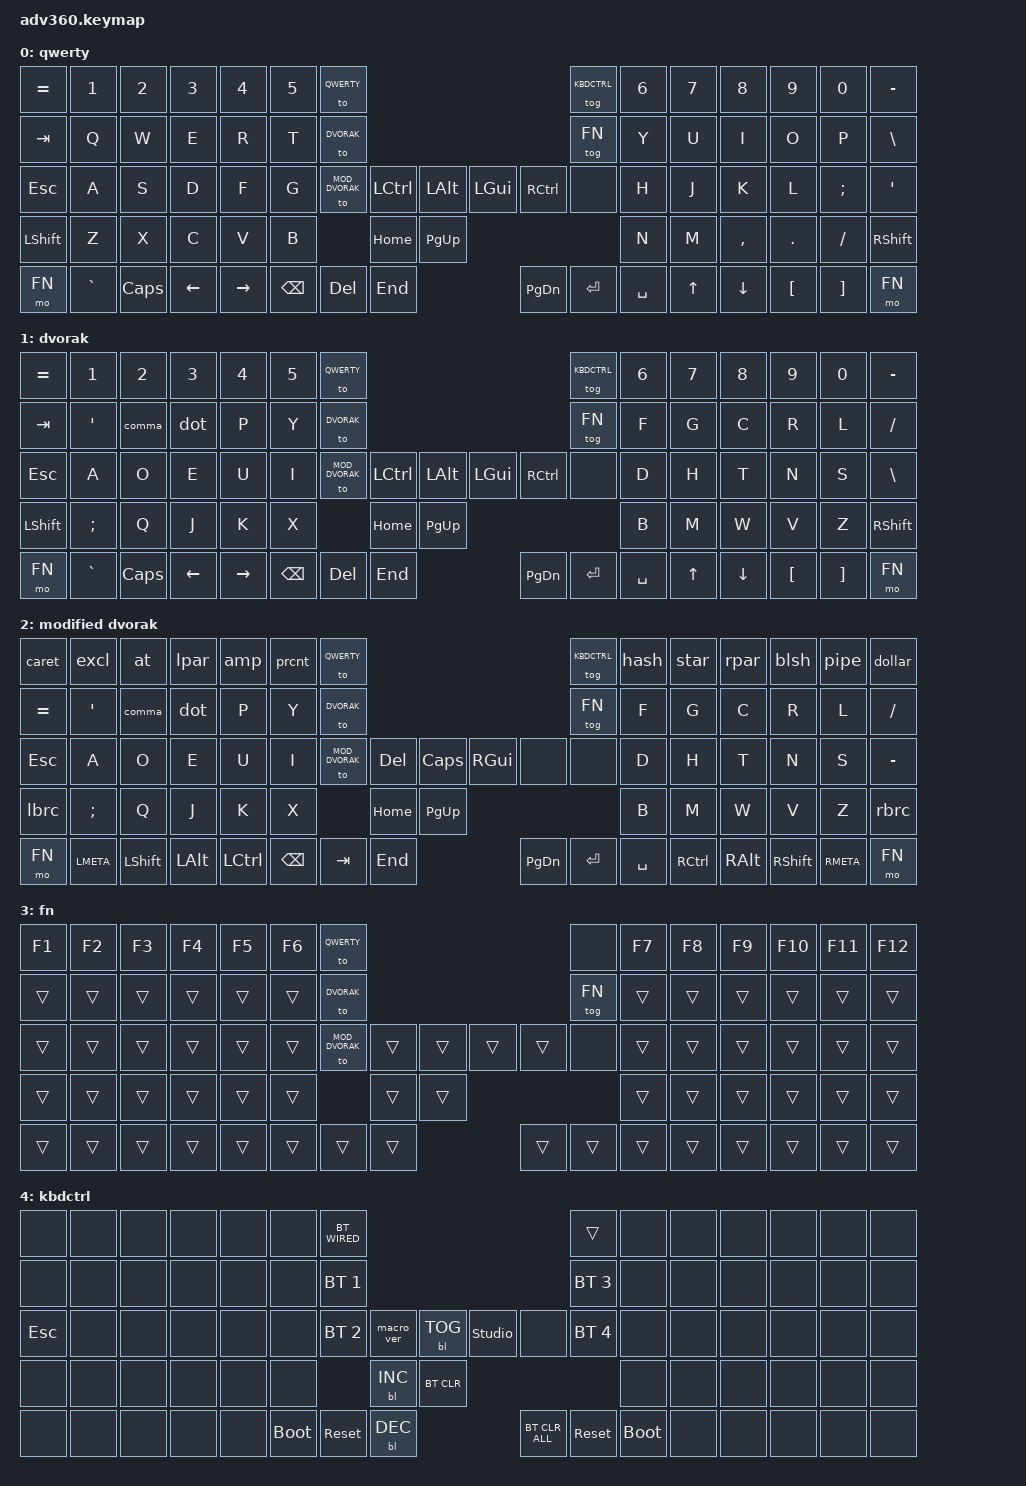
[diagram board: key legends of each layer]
#include <behaviors.dtsi>
#include <dt-bindings/zmk/keys.h>
#include <dt-bindings/zmk/bt.h>
#include <dt-bindings/zmk/rgb.h>
#include <dt-bindings/zmk/stp.h>
#include <dt-bindings/zmk/backlight.h>
#include <dt-bindings/zmk/pointing.h>
#define QWERTY 0
#define DVORAK 1
#define MOD_DVORAK 2
#define FN 3
#define KBDCTRL 4
#define BT_1 0
#define BT_2 1
#define BT_3 2
#define BT_4 3
#define BT_WIRED 4

/ {

    behaviors {
        #include "macros.dtsi"
        #include "version.dtsi"

        caret: caret {
            compatible = "zmk,behavior-mod-morph";
            #binding-cells = <0>;
            bindings = <&kp CARET>, <&kp TILDE>;
            mods = <(MOD_LSFT|MOD_RSFT)>;
        };

        excl: excl {
            compatible = "zmk,behavior-mod-morph";
            #binding-cells = <0>;
            bindings = <&kp EXCL>, <&kp N1>;
            mods = <(MOD_LSFT|MOD_RSFT)>;
        };

        at: at {
            compatible = "zmk,behavior-mod-morph";
            #binding-cells = <0>;
            bindings = <&kp AT>, <&kp N2>;
            mods = <(MOD_LSFT|MOD_RSFT)>;
        };

        lpar: lpar {
            compatible = "zmk,behavior-mod-morph";
            #binding-cells = <0>;
            bindings = <&kp LPAR>, <&kp N3>;
            mods = <(MOD_LSFT|MOD_RSFT)>;
        };

        amp: amp {
            compatible = "zmk,behavior-mod-morph";
            #binding-cells = <0>;
            bindings = <&kp AMPS>, <&kp N4>;
            mods = <(MOD_LSFT|MOD_RSFT)>;
        };

        prcnt: prcnt {
            compatible = "zmk,behavior-mod-morph";
            #binding-cells = <0>;
            bindings = <&kp PRCNT>, <&kp N5>;
            mods = <(MOD_LSFT|MOD_RSFT)>;
        };

        hash: hash {
            compatible = "zmk,behavior-mod-morph";
            #binding-cells = <0>;
            bindings = <&kp HASH>, <&kp N6>;
            mods = <(MOD_LSFT|MOD_RSFT)>;
        };

        star: star {
            compatible = "zmk,behavior-mod-morph";
            #binding-cells = <0>;
            bindings = <&kp STAR>, <&kp N7>;
            mods = <(MOD_LSFT|MOD_RSFT)>;
        };

        rpar: rpar {
            compatible = "zmk,behavior-mod-morph";
            #binding-cells = <0>;
            bindings = <&kp RPAR>, <&kp N8>;
            mods = <(MOD_LSFT|MOD_RSFT)>;
        };

        blsh: blsh {
            compatible = "zmk,behavior-mod-morph";
            #binding-cells = <0>;
            bindings = <&kp BSLH>, <&kp N9>;
            mods = <(MOD_LSFT|MOD_RSFT)>;
        };

        pipe: pipe {
            compatible = "zmk,behavior-mod-morph";
            #binding-cells = <0>;
            bindings = <&kp PIPE>, <&kp N0>;
            mods = <(MOD_LSFT|MOD_RSFT)>;
        };

        dollar: dollar {
            compatible = "zmk,behavior-mod-morph";
            #binding-cells = <0>;
            bindings = <&kp DOLLAR>, <&kp GRAVE>;
            mods = <(MOD_LSFT|MOD_RSFT)>;
        };

        comma: comma {
            compatible = "zmk,behavior-mod-morph";
            #binding-cells = <0>;
            bindings = <&kp COMMA>, <&kp LT>;
            mods = <(MOD_LSFT|MOD_RSFT)>;
        };

        dot: dot {
            compatible = "zmk,behavior-mod-morph";
            #binding-cells = <0>;
            bindings = <&kp PERIOD>, <&kp GT>;
            mods = <(MOD_LSFT|MOD_RSFT)>;
        };

        lbrc: lbrc {
            compatible = "zmk,behavior-mod-morph";
            #binding-cells = <0>;
            bindings = <&kp LBRC>, <&kp LBKT>;
            mods = <(MOD_LSFT|MOD_RSFT)>;
        };

        rbrc: rbrc {
            compatible = "zmk,behavior-mod-morph";
            #binding-cells = <0>;
            bindings = <&kp RBRC>, <&kp RBKT>;
            mods = <(MOD_LSFT|MOD_RSFT)>;
        };
    };


    keymap {
        compatible = "zmk,keymap";

        qwerty {
            display-name = "qwerty";
            bindings = <
                &kp EQUAL &kp N1    &kp N2   &kp N3   &kp N4    &kp N5 &to QWERTY                                                                &tog KBDCTRL &kp N6 &kp N7 &kp N8    &kp N9   &kp N0   &kp MINUS
                &kp TAB   &kp Q     &kp W    &kp E    &kp R     &kp T  &to DVORAK                                                                &tog FN      &kp Y  &kp U  &kp I     &kp O    &kp P    &kp BSLH
                &kp ESC   &kp A     &kp S    &kp D    &kp F     &kp G  &to MOD_DVORAK          &kp LCTRL &kp LALT  &kp LGUI  &kp RCTRL           &none        &kp H  &kp J  &kp K     &kp L    &kp SEMI &kp SQT
                &kp LSHFT &kp Z     &kp X    &kp C    &kp V     &kp B                          &kp HOME  &kp PG_UP                                            &kp N  &kp M  &kp COMMA &kp DOT  &kp FSLH &kp RSHFT
                &mo FN    &kp GRAVE &kp CAPS &kp LEFT &kp RIGHT                       &kp BSPC &kp DEL   &kp END   &kp PG_DN &kp ENTER &kp SPACE                     &kp UP &kp DOWN  &kp LBKT &kp RBKT &mo FN
            >;
        };

        dvorak {
            display-name = "dvorak";
            bindings = <
                &kp EQUAL &kp N1    &kp N2   &kp N3   &kp N4    &kp N5 &to QWERTY                                                                &tog KBDCTRL &kp N6 &kp N7 &kp N8   &kp N9   &kp N0   &kp MINUS
                &kp TAB   &kp SQT   &comma   &dot     &kp P     &kp Y  &to DVORAK                                                                &tog FN      &kp F  &kp G  &kp C    &kp R    &kp L    &kp SLASH
                &kp ESC   &kp A     &kp O    &kp E    &kp U     &kp I  &to MOD_DVORAK          &kp LCTRL &kp LALT  &kp LGUI  &kp RCTRL           &none        &kp D  &kp H  &kp T    &kp N    &kp S    &kp BSLH
                &kp LSHFT &kp SEMI  &kp Q    &kp J    &kp K     &kp X                          &kp HOME  &kp PG_UP                                            &kp B  &kp M  &kp W    &kp V    &kp Z    &kp RSHFT
                &mo FN    &kp GRAVE &kp CAPS &kp LEFT &kp RIGHT                       &kp BSPC &kp DEL   &kp END   &kp PG_DN &kp ENTER &kp SPACE                     &kp UP &kp DOWN &kp LBKT &kp RBKT &mo FN
            >;
        };

        mod_dvorak {
            display-name = "modified dvorak";
            bindings = <
                &caret    &excl     &at        &lpar    &amp      &prcnt &to QWERTY                                                               &tog KBDCTRL &hash     &star     &rpar      &blsh      &pipe     &dollar
                &kp EQUAL &kp SQT   &comma     &dot     &kp P     &kp Y  &to DVORAK                                                               &tog FN      &kp F     &kp G     &kp C      &kp R      &kp L     &kp SLASH
                &kp ESC   &kp A     &kp O      &kp E    &kp U     &kp I  &to MOD_DVORAK          &kp DEL  &kp CAPS  &kp RGUI  &none               &none        &kp D     &kp H     &kp T      &kp N      &kp S     &kp MINUS
                &lbrc     &kp SEMI  &kp Q      &kp J    &kp K     &kp X                          &kp HOME &kp PG_UP                                            &kp B     &kp M     &kp W      &kp V      &kp Z     &rbrc
                &mo FN    &kp LMETA &kp LSHIFT &kp LALT &kp LCTRL                       &kp BSPC &kp TAB  &kp END   &kp PG_DN &kp ENTER &kp SPACE                        &kp RCTRL &kp RALT  &kp RSHIFT &kp RMETA  &mo FN
            >;
        };

        fn {
            display-name = "fn";
            bindings = <
                &kp F1 &kp F2 &kp F3 &kp F4 &kp F5 &kp F6 &to QWERTY                                               &none    &kp F7 &kp F8 &kp F9 &kp F10 &kp F11 &kp F12
                &trans &trans &trans &trans &trans &trans &to DVORAK                                               &tog FN  &trans &trans &trans &trans  &trans  &trans
                &trans &trans &trans &trans &trans &trans &to MOD_DVORAK        &trans &trans &trans &trans        &none    &trans &trans &trans &trans  &trans  &trans
                &trans &trans &trans &trans &trans &trans                       &trans &trans                               &trans &trans &trans &trans  &trans  &trans
                &trans &trans &trans &trans &trans                       &trans &trans &trans &trans &trans &trans                 &trans &trans &trans  &trans  &trans
            >;
        };

        kbdctrl {
            display-name = "kbdctrl";
            bindings = <
                &none   &none &none &none &none &none &bt BT_SEL BT_WIRED                                                                         &trans          &none &none &none &none &none &none
                &none   &none &none &none &none &none &bt BT_SEL BT_1                                                                             &bt BT_SEL BT_3 &none &none &none &none &none &none
                &kp ESC &none &none &none &none &none &bt BT_SEL BT_2                 &macro_ver &bl BL_TOG &studio_unlock &none                  &bt BT_SEL BT_4 &none &none &none &none &none &none
                &none   &none &none &none &none &none                                            &bl BL_INC &bt BT_CLR                                            &none &none &none &none &none &none
                &none   &none &none &none &none                           &bootloader &sys_reset &bl BL_DEC &bt BT_CLR_ALL &sys_reset &bootloader                 &none &none &none &none &none
            >;
        };

        extra1 {
            display-name = "Red";    
            status = "reserved";
        };

        extra2 { 
            display-name = "Purple";    
            status = "reserved";
        };

        extra3 { 
            display-name = "Cyan";    
            status = "reserved";
        };

        extra4 { 
            display-name = "Yellow";    
            status = "reserved";
        };
    };
  };
